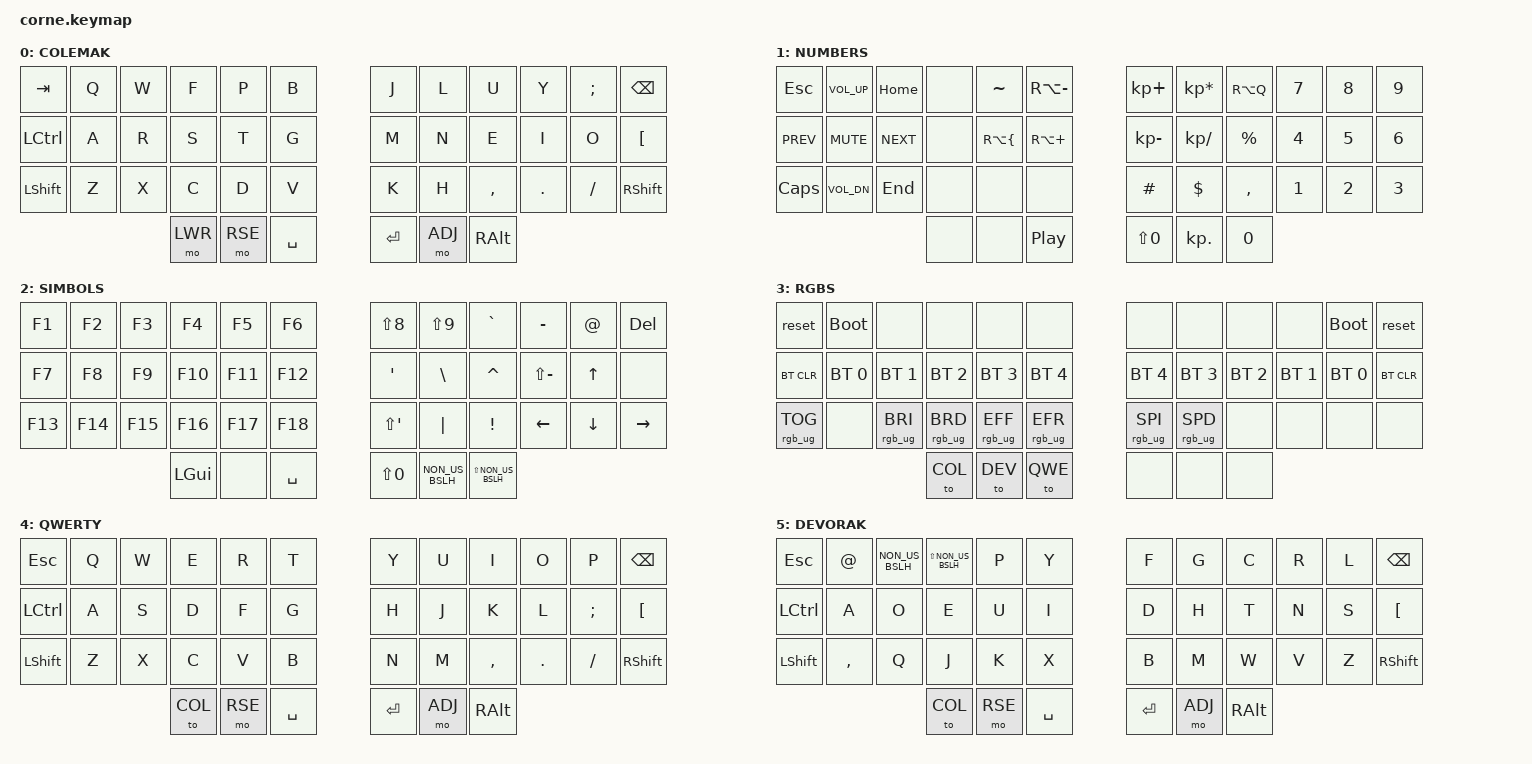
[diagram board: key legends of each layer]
/*
 * Copyright (c) 2020 The ZMK Contributors
 *
 * SPDX-License-Identifier: MIT
 */

#include <behaviors.dtsi>
#include <dt-bindings/zmk/keys.h>
#include <dt-bindings/zmk/bt.h>
#include <dt-bindings/zmk/rgb.h>
#include <dt-bindings/zmk/outputs.h>
#include <dt-bindings/zmk/ext_power.h>

#define COL 0
#define LWR 1
#define RSE 2
#define ADJ 3
#define QWE 4
#define DEV 5

/ {
        keymap {
                compatible = "zmk,keymap";

default_layer {
	label = " COLEMAK";

//     --------------------------------------                 --------------------------------------
//     | TAB  |  Q  |  W  |  F  |  P  |  B  |                 |  J  |  L  |  U  |  Y  |  Ñ  | BKSP |
//     | CTRL |  A  |  R  |  S  |  T  |  G  |                 |  M  |  N  |  E  |  I  |  O  |  ´   |
//     | SHFT |  Z  |  X  |  C  |  D  |  V  |------     ------|  K  |  H  |  ,  |  .  |  -  | SHFT |
//     -------------------------| LWR | RSE | SPC |     | ENT | ADJ | ALT |-------------------------
//                              -------------------     -------------------

bindings = <

   &kp TAB     &kp Q   &kp W   &kp F    &kp P    &kp B       &kp J      &kp L    &kp U      &kp Y    &kp SEMI  &kp BSPC
   &kp LCTRL   &kp A   &kp R   &kp S    &kp T    &kp G       &kp M      &kp N    &kp E      &kp I    &kp O     &kp LBKT
   &kp LSHFT   &kp Z   &kp X   &kp C    &kp D    &kp V       &kp K      &kp H    &kp COMMA  &kp DOT  &kp FSLH  &kp RSHFT
                               &mo LWR  &mo RSE  &kp SPACE   &kp ENTER  &mo ADJ  &kp RALT
                        >;
                };
                
lower_layer {
        label = " NUMBERS";
        
//      ----------------------------------------                -------------------------------------
//      | ESC  | VOL+ | HOME |     |  °  |  \  |                |  +  |  *  |  @  |  7  |  8  |  9  |
//      | Prev | Mute | Next |     |  ^  |  ~  |                |  -  |  /  |  %  |  4  |  5  |  6  |
//      | Mayu | VOL- | END  |     |     |     |------     -----|  #  |  $  |  ,  |  1  |  2  |  3  |
//      ---------------------------|     |     | Paus |   |  =  |  .  |  0  |------------------------
//                                 --------------------    ------------------
                        
bindings = <

   &kp ESC     &kp C_VOL_UP   &kp HOME    &none   &kp TILDE      &kp RA(MINUS)       &kp KP_PLUS   &kp KP_MULTIPLY   &kp RA(Q)   &kp N7  &kp N8  &kp N9
   &kp C_PREV  &kp C_MUTE     &kp C_NEXT  &none   &kp RA(LBRC)   &kp RA(PLUS)        &kp KP_MINUS  &kp KP_DIVIDE     &kp PRCNT   &kp N4  &kp N5  &kp N6
   &kp CAPS    &kp C_VOL_DN   &kp END     &none   &none          &none               &kp HASH      &kp DLLR          &kp COMMA   &kp N1  &kp N2  &kp N3
                                          &none   &none          &kp C_PLAY_PAUSE    &kp LS(N0)    &kp KP_DOT        &kp N0
                        >;
                };

raise_layer {
        label = " SIMBOLS";
        
//       --------------------------------------                 --------------------------------------
//       |  F1  |  F2 |  F3 |  F4 |  F5 |  F6 |                 |  (  |  )  | "|" |  '  |  "  | DEL  |
//       |  F7  |  F8 |  F9 | F10 | F11 | F12 |                 |  {  |  }  |  &  |  ?  | UP  |      |
//       |  F13 | F14 | F15 | F16 | F17 | F18 |------     ------|  [  |  ]  |  !  | LFT | DWN | RGT  | 
//       -------------------------| GUI |     | SPC |     |  =  |  <  |  >  |-------------------------
//                                -------------------     -------------------
                        
bindings = <

   &kp F1   &kp F2   &kp F3   &kp F4   &kp F5   &kp F6        &kp LS(N8)       &kp LS(N9)           &kp GRAVE    &kp MINUS     &kp AT    &kp DEL
   &kp F7   &kp F8   &kp F9   &kp F10  &kp F11  &kp F12       &kp SQT          &kp BSLH             &kp CARET    &kp LS(MINUS) &kp UP    &none  
   &kp F13  &kp F14  &kp F15  &kp F16  &kp F17  &kp F18       &kp LS(SQT)      &kp PIPE             &kp EXCL     &kp LEFT      &kp DOWN  &kp RIGHT
                              &kp LGUI &none    &kp SPACE     &kp LS(N0)       &kp NON_US_BSLH      &kp LS(NON_US_BSLH) 
                        >;
                };
                
adjust_layer {
        label = " RGBS";
        
//       -------------------------------------------                ---------------------------------------
//       | RST  | BLDR |      |      |      |      |                |     |     |     |     | BLDR | RST  |
//       | BTCLR| BT0  | BT1  | BT2  | BT3  | BT4  |                | BT4 | BT3 | BT2 | BT1 | BT0  | BTCLR|
//       |ON-OFF|      |      |      | ANI+ | ANI- |------     -----| Vel+| Vel-|     |     |      |      |    
//       ----------------------------| COL  | DEV  |  QWE |   |     |     |     |--------------------------
//                                   ---------------------     ------------------
                       
bindings = <

   &reset  &bootloader  &none        &none        &none        &none                     &none        &none        &none        &none       &bootloader     &reset
   &bt BT_CLR  &bt BT_SEL 0  &bt BT_SEL 1  &bt BT_SEL 2  &bt BT_SEL 3  &bt BT_SEL 4      &bt BT_SEL 4  &bt BT_SEL 3  &bt BT_SEL 2  &bt BT_SEL 1  &bt BT_SEL 0  &bt BT_CLR
   &rgb_ug RGB_TOG   &none  &rgb_ug RGB_BRI  &rgb_ug RGB_BRD   &rgb_ug RGB_EFF   &rgb_ug RGB_EFR           &rgb_ug RGB_SPI   &rgb_ug RGB_SPD   &none   &none   &none   &none
                                                             &to COL  &to DEV  &to QWE          &none &none &none
                        >;
                };
                 
qwerty_layer {
        label = " QWERTY";
        
//       --------------------------------------              ---------------------------------------
//       | ESC  |  Q  |  W  |  E  |  R  |  T  |              |  Y  |  U   |  I  |  O  |  P  | BKSP |
//       | CTRL |  A  |  S  |  D  |  F  |  G  |              |  H  |  J   |  K  |  L  |  Ñ  |  ´   |
//       | SHFT |  Z  |  X  |  C  |  V  |  B  | ----     ----|  N  |  M   |  ,  |  .  |  -  | SHFT | 
//       -------------------------| LWR | RSE | SPC |   | ENT | ADJ | ALT |------------------------
//                                ------------------     -------------------
                       
bindings = <

   &kp ESC   &kp Q  &kp W  &kp E  &kp R  &kp T                  &kp Y  &kp U  &kp I      &kp O    &kp P     &kp BSPC
   &kp LCTRL &kp A  &kp S  &kp D  &kp F  &kp G                  &kp H  &kp J  &kp K      &kp L    &kp SEMI  &kp LBKT
   &kp LSHFT &kp Z  &kp X  &kp C  &kp V  &kp B                  &kp N  &kp M  &kp COMMA  &kp DOT  &kp FSLH  &kp RSHFT
                            &to COL   &mo RSE  &kp SPACE   &kp ENTER  &mo ADJ  &kp RALT
                        >;
                };
		
devorak_layer {
        label = " DEVORAK";
        
//       --------------------------------------              ---------------------------------------
//       | ESC  |  "  |  <  |  >  |  P  |  Y  |              |  F  |  G   |  C  |  R  |  L  | BKSP |
//       | CTRL |  A  |  O  |  E  |  U  |  I  |              |  D  |  H   |  T  |  N  |  S  |  ´   |
//       | SHFT |  ,  |  Q  |  J  |  K  |  X  | ----     ----|  B  |  M   |  W  |  V  |  Z  | SHFT | 
//       -------------------------| LWR | RSE | SPC |   | ENT | ADJ | ALT |------------------------
//                                ------------------     -------------------
                       
bindings = <

   &kp ESC   &kp AT     &kp NON_US_BSLH  &kp LS(NON_US_BSLH)   &kp P  &kp Y                  &kp F  &kp G  &kp C  &kp R  &kp L  &kp BSPC
   &kp LCTRL &kp A      &kp O            &kp E                 &kp U  &kp I                  &kp D  &kp H  &kp T  &kp N  &kp S  &kp LBKT
   &kp LSHFT &kp COMMA  &kp Q            &kp J                 &kp K  &kp X                  &kp B  &kp M  &kp W  &kp V  &kp Z  &kp RSHFT
                                     &to COL               &mo RSE  &kp SPACE      &kp ENTER  &mo ADJ  &kp RALT
                        >;
                };
        
        };
};
